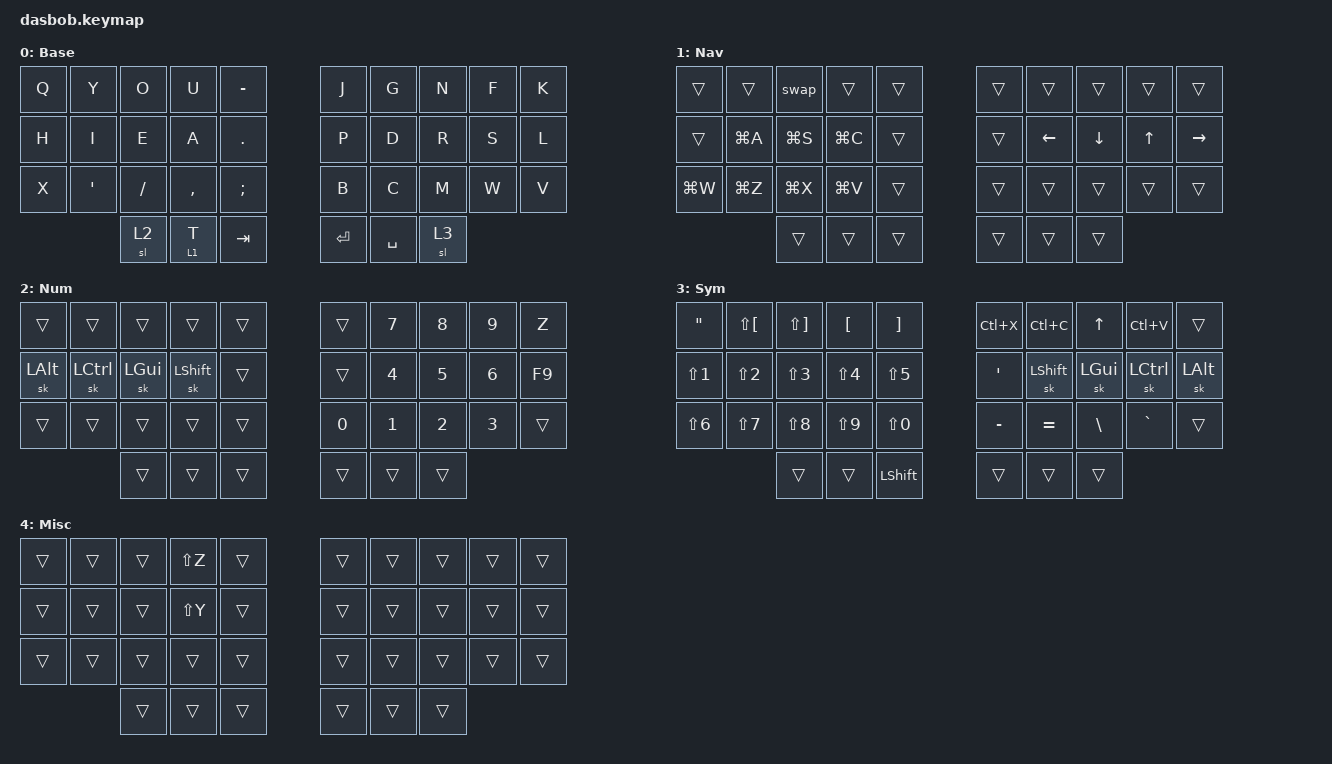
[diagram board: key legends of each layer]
#include <behaviors.dtsi>
#include <dt-bindings/zmk/keys.h>

/ {
    behaviors {
        hm: homerow_mods {
            compatible = "zmk,behavior-hold-tap";
            label = "HOMEROW_MODS";
            bindings = <&kp>, <&kp>;

            #binding-cells = <2>;
            tapping-term-ms = <200>;
            quick-tap-ms = <0>;
            flavor = "tap-preferred";
        };

        swap: swapper {
            compatible = "zmk,behavior-tri-state";
            label = "SWAPPER";
            #binding-cells = <0>;
            bindings = <&kt LGUI>, <&kp TAB>, <&kt LGUI>;
            ignored-key-positions = <0 2 16 17 18 19>;
        };
    };

    combos {
        compatible = "zmk,combos";

        bootloader_combo {
            timeout-ms = <50>;  // max delay between keys
            key-positions = <4 5>; // key matrix positions for MINUS and J
            bindings = <&bootloader>;
        };
    };

    macros {
        save: save {
            compatible = "zmk,behavior-macro";
            #binding-cells = <0>;
            bindings = <&kp LEFT_GUI &kp S>;
            label = "SAVE";
        };

        cut: cut {
            compatible = "zmk,behavior-macro";
            #binding-cells = <0>;
            bindings = <&kp LEFT_GUI &kp X>;
            label = "CUT";
        };

        copy: copy {
            compatible = "zmk,behavior-macro";
            #binding-cells = <0>;
            bindings = <&kp LEFT_GUI &kp S>;
            label = "COPY";
        };

        paste: paste {
            compatible = "zmk,behavior-macro";
            #binding-cells = <0>;
            bindings = <&kp LEFT_GUI &kp V>;
            label = "PASTE";
        };

        undo: undo {
            compatible = "zmk,behavior-macro";
            #binding-cells = <0>;
            bindings = <&kp LEFT_GUI &kp Z>;
            label = "UNDO";
        };

        select_all: select_all {
            compatible = "zmk,behavior-macro";
            #binding-cells = <0>;
            bindings = <&kp LEFT_GUI &kp A>;
            label = "SELECT_ALL";
        };
    };

    keymap {
        compatible = "zmk,keymap";

        // This is a sample keymap intended to be replaced with your own

        Base {
            bindings = <
&kp Q  &kp Y             &kp O            &kp U             &kp MINUS      /**/  &kp J      &kp G      &kp N  &kp F    &kp K
&kp H  &kp I             &kp E            &kp A             &kp DOT        /**/  &kp P      &kp D      &kp R  &kp S    &kp L
&kp X  &kp SINGLE_QUOTE  &kp SLASH        &kp COMMA         &kp SEMICOLON  /**/  &kp B      &kp C      &kp M  &kp W    &kp V
                         &sl 2            &lt 1 T           &kp TAB        /**/  &kp ENTER  &kp SPACE  &sl 3
            >;
        };

        Nav {
            bindings = <
&trans     &trans     &swap     &trans     &trans  /**/  &trans  &trans    &trans    &trans  &trans  
&trans     &kp LG(A)  &kp LG(S) &kp LG(C)  &trans  /**/  &trans  &kp LEFT  &kp DOWN  &kp UP  &kp RIGHT
&kp LG(W)  &kp LG(Z)  &kp LG(X) &kp LG(V)  &trans  /**/  &trans  &trans    &trans    &trans  &trans
                      &trans    &trans     &trans  /**/  &trans  &trans    &trans
            >;
        };

        Num {
            bindings = <
&trans    &trans     &trans    &trans     &trans  /**/  &trans  &kp N7  &kp N8  &kp N9  &kp Z
&sk LALT  &sk LCTRL  &sk LGUI  &sk LSHFT  &trans  /**/  &trans  &kp N4  &kp N5  &kp N6  &kp F9 
&trans    &trans     &trans    &trans     &trans  /**/  &kp N0  &kp N1  &kp N2  &kp N3  &trans  
                     &trans    &trans     &trans  /**/  &trans  &trans  &trans
            >;
        };

        Sym {
            bindings = <
&kp DOUBLE_QUOTES  &kp LS(LEFT_BRACKET)  &kp LS(RIGHT_BRACKET)  &kp LEFT_BRACKET  &kp RIGHT_BRACKET  /**/  &kp LC(X)         &kp LC(C)  &kp UP         &kp LC(V)  &trans
&kp LS(NUMBER_1)   &kp LS(NUMBER_2)      &kp LS(NUMBER_3)       &kp LS(NUMBER_4)  &kp LS(N5)         /**/  &kp SINGLE_QUOTE  &sk LSHFT  &sk LGUI       &sk LCTRL  &sk LALT
&kp LS(NUMBER_6)   &kp LS(N7)            &kp LS(N8)             &kp LS(N9)        &kp LS(N0)         /**/  &kp MINUS         &kp EQUAL  &kp BACKSLASH  &kp GRAVE  &trans
                                         &trans                 &trans            &kp LSHFT          /**/  &trans            &trans     &trans
            >;
        };

        Misc {
            bindings = <
&trans  &trans  &trans  &kp LS(Z)  &trans  /**/  &trans  &trans  &trans  &trans  &trans
&trans  &trans  &trans  &kp LS(Y)  &trans  /**/  &trans  &trans  &trans  &trans  &trans
&trans  &trans  &trans  &trans     &trans  /**/  &trans  &trans  &trans  &trans  &trans
                &trans  &trans     &trans  /**/  &trans  &trans  &trans
            >;
        };
    };
};
